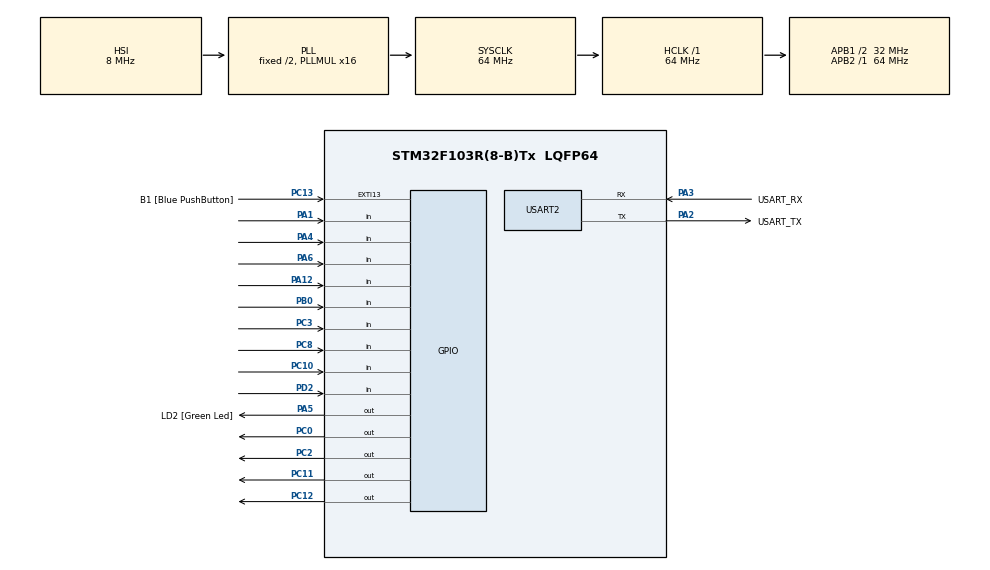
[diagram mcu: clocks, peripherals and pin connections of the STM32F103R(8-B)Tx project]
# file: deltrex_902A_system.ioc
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Mcu.Family=STM32F1
Mcu.Name=STM32F103R(8-B)Tx
Mcu.Package=LQFP64
NVIC.EXTI15_10_IRQn=true\:0\:0\:false\:false\:true\:true\:true
NVIC.PriorityGroup=NVIC_PRIORITYGROUP_4
PA1.GPIO_PuPd=GPIO_PULLUP
PA1.Signal=GPIO_Input
PA12.GPIO_PuPd=GPIO_PULLUP
PA12.Signal=GPIO_Input
PA13.GPIO_Label=TMS
PA13.Mode=Serial_Wire
PA13.Signal=SYS_JTMS-SWDIO
PA14.GPIO_Label=TCK
PA14.Mode=Serial_Wire
PA14.Signal=SYS_JTCK-SWCLK
PA2.GPIO_Label=USART_TX
PA2.GPIO_Mode=GPIO_MODE_AF_PP
PA2.GPIO_PuPd=GPIO_NOPULL
PA2.GPIO_Speed=GPIO_SPEED_FREQ_LOW
PA2.Mode=Asynchronous
PA2.Signal=USART2_TX
PA3.GPIO_Label=USART_RX
PA3.GPIO_Mode=GPIO_MODE_AF_PP
PA3.GPIO_PuPd=GPIO_NOPULL
PA3.GPIO_Speed=GPIO_SPEED_FREQ_LOW
PA3.Mode=Asynchronous
PA3.Signal=USART2_RX
PA4.GPIO_PuPd=GPIO_PULLUP
PA4.Signal=GPIO_Input
PA5.GPIO_Label=LD2 [Green Led]
PA5.GPIO_ModeDefaultOutputPP=GPIO_MODE_OUTPUT_PP
PA5.GPIO_PuPd=GPIO_NOPULL
PA5.GPIO_Speed=GPIO_SPEED_FREQ_LOW
PA5.Signal=GPIO_Output
PA6.GPIO_PuPd=GPIO_PULLUP
PA6.Signal=GPIO_Input
PB0.GPIO_PuPd=GPIO_PULLUP
PB0.Signal=GPIO_Input
PB3.GPIO_Label=SWO
PB3.Signal=SYS_JTDO-TRACESWO
PC0.Signal=GPIO_Output
PC10.GPIO_PuPd=GPIO_PULLUP
PC10.Signal=GPIO_Input
PC11.Signal=GPIO_Output
PC12.Signal=GPIO_Output
PC13-TAMPER-RTC.GPIO_Label=B1 [Blue PushButton]
PC13-TAMPER-RTC.GPIO_PuPd=GPIO_NOPULL
PC13-TAMPER-RTC.Signal=GPXTI13
PC14-OSC32_IN.Mode=LSE-External-Oscillator
PC14-OSC32_IN.Signal=RCC_OSC32_IN
PC15-OSC32_OUT.Mode=LSE-External-Oscillator
PC15-OSC32_OUT.Signal=RCC_OSC32_OUT
PC2.Signal=GPIO_Output
PC3.GPIO_PuPd=GPIO_PULLUP
PC3.Signal=GPIO_Input
PC8.GPIO_PuPd=GPIO_PULLUP
PC8.Signal=GPIO_Input
PD0-OSC_IN.Mode=HSE-External-Clock-Source
PD0-OSC_IN.Signal=RCC_OSC_IN
PD1-OSC_OUT.Mode=HSE-External-Clock-Source
PD1-OSC_OUT.Signal=RCC_OSC_OUT
PD2.GPIO_PuPd=GPIO_PULLUP
PD2.Signal=GPIO_Input
ProjectManager.HeapSize=0x200
ProjectManager.StackSize=0x400
ProjectManager.TargetToolchain=STM32CubeIDE
RCC.AHBFreq_Value=64000000
RCC.APB1CLKDivider=RCC_HCLK_DIV2
RCC.APB1Freq_Value=32000000
RCC.APB1TimFreq_Value=64000000
RCC.APB2Freq_Value=64000000
RCC.APB2TimFreq_Value=64000000
RCC.HCLKFreq_Value=64000000
RCC.PLLMUL=RCC_PLL_MUL16
RCC.RTCClockSelection=RCC_RTCCLKSOURCE_LSE
RCC.SYSCLKFreq_VALUE=64000000
RCC.SYSCLKSource=RCC_SYSCLKSOURCE_PLLCLK
RCC.USBFreq_Value=64000000
USART2.VirtualMode=VM_ASYNC
board=NUCLEO-F103RB

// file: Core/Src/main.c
/* USER CODE BEGIN Header */
/**
  ******************************************************************************
  * @file           : main.c
  * @brief          : Main program body
  ******************************************************************************
  * @attention
  *
  * <h2><center>&copy; Copyright (c) 2021 STMicroelectronics.
  * All rights reserved.</center></h2>
  *
  * This software component is licensed by ST under BSD 3-Clause license,
  * the "License"; You may not use this file except in compliance with the
  * License. You may obtain a copy of the License at:
  *                        opensource.org/licenses/BSD-3-Clause
  *
  ******************************************************************************
  */
/* USER CODE END Header */
#include "main.h"

/* USER CODE BEGIN Includes */
#include <stdio.h>
#include "retarget.h"
#include <stdbool.h>

/* USER CODE END Includes */

/* USER CODE BEGIN PD */
struct Pin_Layout {
	 GPIO_TypeDef *GPIOx;
   unsigned short int  GPIO_Pin;
};
/* USER CODE END PD */

UART_HandleTypeDef huart2;

/* USER CODE BEGIN PV */

/* Door 1 Pin Layouts. */
const struct Pin_Layout DOOR_1_RED_LED = {GPIOC, GPIO_PIN_12};
const struct Pin_Layout DOOR_1_GREEN_LED = {GPIOC, GPIO_PIN_11};
const struct Pin_Layout DOOR_1_OUTSIDE_SWITCH = {GPIOC, GPIO_PIN_10};
const struct Pin_Layout DOOR_1_INSIDE_SWITCH = {GPIOD, GPIO_PIN_2};

/* Door 2 Pin Layouts. */
const struct Pin_Layout DOOR_2_RED_LED = {GPIOC, GPIO_PIN_2};
const struct Pin_Layout DOOR_2_GREEN_LED = {GPIOC, GPIO_PIN_0};
const struct Pin_Layout DOOR_2_OUTSIDE_SWITCH = {GPIOC, GPIO_PIN_3};
const struct Pin_Layout DOOR_2_INSIDE_SWITCH = {GPIOC, GPIO_PIN_1};

/* Misc. Switches */
const struct Pin_Layout PUSH_TO_LOCK = {GPIOA, GPIO_PIN_12};
const struct Pin_Layout EMERGENCY = {GPIOC, GPIO_PIN_8};

/* USER CODE END PV */

void SystemClock_Config(void);
static void MX_GPIO_Init(void);
static void MX_USART2_UART_Init(void);
/* USER CODE BEGIN PFP */
void is_pushed_to_lock_pressed(bool *door_1_unlocked, bool *door_2_unlocked, bool *waiting_on_ptl_release_ptr, bool *waiting_on_door_close_ptr);
void is_emergency_pressed(bool *door_1_unlocked, bool *door_2_unlocked, bool *waiting_on_emergency_release_ptr);
void update_door_1_leds(bool *door_1_unlocked_ptr);
void check_door_1_status(bool *door_1_unlocked_ptr, bool *door_2_unlocked_ptr, bool *waiting_on_door_close_ptr);
void update_door_2_leds(bool *door_2_unlocked_ptr);
void check_door_2_status(bool *door_1_unlocked_ptr, bool *door_2_unlocked_ptr, bool *waiting_on_door_close_ptr);

/* USER CODE END PFP */

int main(void)
{

  /* MCU Configuration--------------------------------------------------------*/

  /* Reset of all peripherals, Initializes the Flash interface and the Systick. */
  HAL_Init();

  /* Configure the system clock */
  SystemClock_Config();

  /* Initialize all configured peripherals */
  MX_GPIO_Init();
  MX_USART2_UART_Init();
  /* USER CODE BEGIN 2 */
	RetargetInit(&huart2);
	bool door_1_unlocked = true;
	bool door_2_unlocked = true;
	bool waiting_on_ptl_release = false;
	bool waiting_on_emergency_release = false;
	bool waiting_on_door_close = false;

  /* USER CODE END 2 */

  /* Infinite loop */
  /* USER CODE BEGIN WHILE */
  while (1)
  {
  	is_pushed_to_lock_pressed(&door_1_unlocked, &door_2_unlocked, &waiting_on_ptl_release, &waiting_on_door_close);
  	is_emergency_pressed(&door_1_unlocked, &door_2_unlocked, &waiting_on_emergency_release);
  	check_door_1_status(&door_1_unlocked, &door_2_unlocked, &waiting_on_door_close);
		update_door_1_leds(&door_1_unlocked);
		check_door_2_status(&door_1_unlocked, &door_2_unlocked, &waiting_on_door_close);
		update_door_2_leds(&door_2_unlocked);

    /* USER CODE END WHILE */

  }
}

void SystemClock_Config(void)
{
  RCC_OscInitTypeDef RCC_OscInitStruct = {0};
  RCC_ClkInitTypeDef RCC_ClkInitStruct = {0};

  /** Initializes the RCC Oscillators according to the specified parameters
  * in the RCC_OscInitTypeDef structure.
  */
  RCC_OscInitStruct.OscillatorType = RCC_OSCILLATORTYPE_HSI;
  RCC_OscInitStruct.HSIState = RCC_HSI_ON;
  RCC_OscInitStruct.HSICalibrationValue = RCC_HSICALIBRATION_DEFAULT;
  RCC_OscInitStruct.PLL.PLLState = RCC_PLL_ON;
  RCC_OscInitStruct.PLL.PLLSource = RCC_PLLSOURCE_HSI_DIV2;
  RCC_OscInitStruct.PLL.PLLMUL = RCC_PLL_MUL16;
  if (HAL_RCC_OscConfig(&RCC_OscInitStruct) != HAL_OK)
  {
    Error_Handler();
  }
  /** Initializes the CPU, AHB and APB buses clocks
  */
  RCC_ClkInitStruct.ClockType = RCC_CLOCKTYPE_HCLK|RCC_CLOCKTYPE_SYSCLK
                              |RCC_CLOCKTYPE_PCLK1|RCC_CLOCKTYPE_PCLK2;
  RCC_ClkInitStruct.SYSCLKSource = RCC_SYSCLKSOURCE_PLLCLK;
  RCC_ClkInitStruct.AHBCLKDivider = RCC_SYSCLK_DIV1;
  RCC_ClkInitStruct.APB1CLKDivider = RCC_HCLK_DIV2;
  RCC_ClkInitStruct.APB2CLKDivider = RCC_HCLK_DIV1;

  if (HAL_RCC_ClockConfig(&RCC_ClkInitStruct, FLASH_LATENCY_2) != HAL_OK)
  {
    Error_Handler();
  }
}

static void MX_USART2_UART_Init(void)
{

  huart2.Instance = USART2;
  huart2.Init.BaudRate = 115200;
  huart2.Init.WordLength = UART_WORDLENGTH_8B;
  huart2.Init.StopBits = UART_STOPBITS_1;
  huart2.Init.Parity = UART_PARITY_NONE;
  huart2.Init.Mode = UART_MODE_TX_RX;
  huart2.Init.HwFlowCtl = UART_HWCONTROL_NONE;
  huart2.Init.OverSampling = UART_OVERSAMPLING_16;
  if (HAL_UART_Init(&huart2) != HAL_OK)
  {
    Error_Handler();
  }

}

static void MX_GPIO_Init(void)
{
  GPIO_InitTypeDef GPIO_InitStruct = {0};

  /* GPIO Ports Clock Enable */
  __HAL_RCC_GPIOC_CLK_ENABLE();
  __HAL_RCC_GPIOD_CLK_ENABLE();
  __HAL_RCC_GPIOA_CLK_ENABLE();
  __HAL_RCC_GPIOB_CLK_ENABLE();

  /*Configure GPIO pin Output Level */
  HAL_GPIO_WritePin(GPIOC, GPIO_PIN_0|GPIO_PIN_2|GPIO_PIN_11|GPIO_PIN_12, GPIO_PIN_RESET);

  /*Configure GPIO pin Output Level */
  HAL_GPIO_WritePin(LD2_GPIO_Port, LD2_Pin, GPIO_PIN_RESET);

  /*Configure GPIO pin : B1_Pin */
  GPIO_InitStruct.Pin = B1_Pin;
  GPIO_InitStruct.Mode = GPIO_MODE_IT_RISING;
  GPIO_InitStruct.Pull = GPIO_NOPULL;
  HAL_GPIO_Init(B1_GPIO_Port, &GPIO_InitStruct);

  /*Configure GPIO pins : PC0 PC2 PC11 PC12 */
  GPIO_InitStruct.Pin = GPIO_PIN_0|GPIO_PIN_2|GPIO_PIN_11|GPIO_PIN_12;
  GPIO_InitStruct.Mode = GPIO_MODE_OUTPUT_PP;
  GPIO_InitStruct.Pull = GPIO_NOPULL;
  GPIO_InitStruct.Speed = GPIO_SPEED_FREQ_LOW;
  HAL_GPIO_Init(GPIOC, &GPIO_InitStruct);

  /*Configure GPIO pins : PC3 PC8 PC10 */
  GPIO_InitStruct.Pin = GPIO_PIN_3|GPIO_PIN_8|GPIO_PIN_10;
  GPIO_InitStruct.Mode = GPIO_MODE_INPUT;
  GPIO_InitStruct.Pull = GPIO_PULLUP;
  HAL_GPIO_Init(GPIOC, &GPIO_InitStruct);

  /*Configure GPIO pins : PA1 PA4 PA6 PA12 */
  GPIO_InitStruct.Pin = GPIO_PIN_1|GPIO_PIN_4|GPIO_PIN_6|GPIO_PIN_12;
  GPIO_InitStruct.Mode = GPIO_MODE_INPUT;
  GPIO_InitStruct.Pull = GPIO_PULLUP;
  HAL_GPIO_Init(GPIOA, &GPIO_InitStruct);

  /*Configure GPIO pin : LD2_Pin */
  GPIO_InitStruct.Pin = LD2_Pin;
  GPIO_InitStruct.Mode = GPIO_MODE_OUTPUT_PP;
  GPIO_InitStruct.Pull = GPIO_NOPULL;
  GPIO_InitStruct.Speed = GPIO_SPEED_FREQ_LOW;
  HAL_GPIO_Init(LD2_GPIO_Port, &GPIO_InitStruct);

  /*Configure GPIO pin : PB0 */
  GPIO_InitStruct.Pin = GPIO_PIN_0;
  GPIO_InitStruct.Mode = GPIO_MODE_INPUT;
  GPIO_InitStruct.Pull = GPIO_PULLUP;
  HAL_GPIO_Init(GPIOB, &GPIO_InitStruct);

  /*Configure GPIO pin : PD2 */
  GPIO_InitStruct.Pin = GPIO_PIN_2;
  GPIO_InitStruct.Mode = GPIO_MODE_INPUT;
  GPIO_InitStruct.Pull = GPIO_PULLUP;
  HAL_GPIO_Init(GPIOD, &GPIO_InitStruct);

  /* EXTI interrupt init*/
  HAL_NVIC_SetPriority(EXTI15_10_IRQn, 0, 0);
  HAL_NVIC_EnableIRQ(EXTI15_10_IRQn);

}

/* USER CODE BEGIN 4 */
void is_pushed_to_lock_pressed(bool *door_1_unlocked_ptr, bool *door_2_unlocked_ptr, bool *waiting_on_ptl_release_ptr, bool *waiting_on_door_close_ptr)
{
	bool pressed_down = HAL_GPIO_ReadPin(PUSH_TO_LOCK.GPIOx, PUSH_TO_LOCK.GPIO_Pin) == 0;

	if (!pressed_down && *waiting_on_ptl_release_ptr && !*waiting_on_door_close_ptr) {
		*door_1_unlocked_ptr = false;
		*door_2_unlocked_ptr = false;
		*waiting_on_ptl_release_ptr = false;
	} else if (pressed_down) {
		*waiting_on_ptl_release_ptr = true;
	}
}

void is_emergency_pressed(bool *door_1_unlocked_ptr, bool *door_2_unlocked_ptr, bool *waiting_on_emergency_release_ptr)
{
	bool pressed_down = HAL_GPIO_ReadPin(EMERGENCY.GPIOx, EMERGENCY.GPIO_Pin) == 0;

	if (!pressed_down && *waiting_on_emergency_release_ptr) {
		*door_1_unlocked_ptr = true;
		*door_2_unlocked_ptr = true;
		*waiting_on_emergency_release_ptr = false;
	} else if (pressed_down) {
		*waiting_on_emergency_release_ptr = true;
	}
}

void check_door_1_status(bool *door_1_unlocked_ptr, bool *door_2_unlocked_ptr, bool *waiting_on_door_close_ptr)
{
	bool opening_door_1_from_inside = HAL_GPIO_ReadPin(DOOR_1_INSIDE_SWITCH.GPIOx, DOOR_1_INSIDE_SWITCH.GPIO_Pin) == 0;

	/* Check if opening door 1 from inside */
	if (opening_door_1_from_inside) {
		*door_1_unlocked_ptr = true;
		*door_2_unlocked_ptr = true;

	/* Check if door 1 is unlocked. */
	} else if (*door_1_unlocked_ptr) {

		bool door_1_opened = HAL_GPIO_ReadPin(DOOR_1_OUTSIDE_SWITCH.GPIOx, DOOR_1_OUTSIDE_SWITCH.GPIO_Pin) == 0;

		/* Set boolean to tell push to lock to wait for door to close before locking */
		*waiting_on_door_close_ptr = door_1_opened;

		/* Check if door 1 is opened. If so, lock door 2. */
		if (door_1_opened) {
			*door_2_unlocked_ptr = false;
		} else {
			*door_2_unlocked_ptr = true;
		}
	}

	return;
}

void update_door_1_leds(bool *door_1_unlocked_ptr)
{
	if (*door_1_unlocked_ptr) {
		HAL_GPIO_WritePin(DOOR_1_RED_LED.GPIOx, DOOR_1_RED_LED.GPIO_Pin, 0);
		HAL_GPIO_WritePin(DOOR_1_GREEN_LED.GPIOx, DOOR_1_GREEN_LED.GPIO_Pin, 1);
	} else {
		HAL_GPIO_WritePin(DOOR_1_RED_LED.GPIOx, DOOR_1_RED_LED.GPIO_Pin, 1);
		HAL_GPIO_WritePin(DOOR_1_GREEN_LED.GPIOx, DOOR_1_GREEN_LED.GPIO_Pin, 0);
	}
	return;
}

void check_door_2_status(bool *door_1_unlocked_ptr, bool *door_2_unlocked_ptr, bool *waiting_on_door_close_ptr)
{
	bool opening_door_2_from_inside = HAL_GPIO_ReadPin(DOOR_2_INSIDE_SWITCH.GPIOx, DOOR_2_INSIDE_SWITCH.GPIO_Pin) == 0;

	/* Check if opening door 1 from inside */
	if (opening_door_2_from_inside) {
		*door_1_unlocked_ptr = true;
		*door_2_unlocked_ptr = true;

	/* Check if door 2 is unlocked. */
	} else if (*door_2_unlocked_ptr) {

		bool door_2_opened = HAL_GPIO_ReadPin(DOOR_2_OUTSIDE_SWITCH.GPIOx, DOOR_2_OUTSIDE_SWITCH.GPIO_Pin) == 0;

		/* Set boolean to tell push to lock to wait for door to close before locking */
		*waiting_on_door_close_ptr = door_2_opened;

		/* Check if door 2 is opened. If so, lock door 1. */
		if (door_2_opened) {
			*door_1_unlocked_ptr = false;
		} else {
			*door_1_unlocked_ptr = true;
		}
	}
	return;
}

void update_door_2_leds(bool *door_2_unlocked_ptr)
{
	if (*door_2_unlocked_ptr) {
		HAL_GPIO_WritePin(DOOR_2_RED_LED.GPIOx, DOOR_2_RED_LED.GPIO_Pin, 0);
		HAL_GPIO_WritePin(DOOR_2_GREEN_LED.GPIOx, DOOR_2_GREEN_LED.GPIO_Pin, 1);
	} else {
		HAL_GPIO_WritePin(DOOR_2_RED_LED.GPIOx, DOOR_2_RED_LED.GPIO_Pin, 1);
		HAL_GPIO_WritePin(DOOR_2_GREEN_LED.GPIOx, DOOR_2_GREEN_LED.GPIO_Pin, 0);
	}
	return;
}

/* USER CODE END 4 */

void Error_Handler(void)
{
  __disable_irq();
  while (1)
  {
  }
}

/************************ (C) COPYRIGHT STMicroelectronics *****END OF FILE****/
